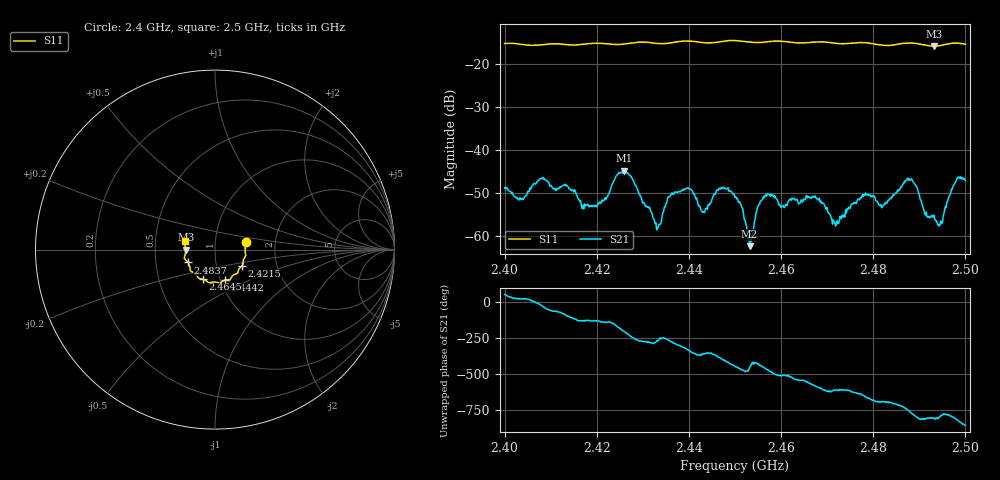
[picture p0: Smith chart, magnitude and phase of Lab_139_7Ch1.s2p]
# Hz S RI R 50
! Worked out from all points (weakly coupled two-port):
!   601 points, 2.4 GHz to 2.5 GHz, reference 50 ohm
!   highest |S21| = -44.84 dB at 2.426 GHz (marker M1); lowest = -62.5 dB at 2.4532 GHz (marker M2)
!   lowest |S11| = -15.7 dB at 2.4932 GHz (marker M3), VSWR 1.39, Z = 36 - j0.0598 ohm
!   |S11| at or under -10 dB: start of sweep to end of sweep
!   S12 and S22 are empty: the file has one direction only
!   S11 on the Smith chart (normalised r, x): 2.4 GHz: 1.41, +0.12; 2.4215 GHz: 1.33, -0.25; 2.4442 GHz: 1.05, -0.37; 2.4645 GHz: 0.83, -0.29; 2.4837 GHz: 0.73, -0.11; 2.5 GHz: 0.71, +0.07
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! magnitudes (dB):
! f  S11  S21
! 2.4 GHz  -15.1  -48.8
! 2.4035 GHz  -15.3  -51.5
! 2.4083 GHz  -15.4  -46.4
! 2.4167 GHz  -15.3  -53.0
! 2.4215 GHz  -15.1  -51.9
! 2.426 GHz  -15.2  -44.8
! 2.4333 GHz  -15.1  -58.2
! 2.4367 GHz  -14.8  -50.1
! 2.4442 GHz  -15.0  -52.8
! 2.45 GHz  -14.4  -51.1
! 2.4532 GHz  -14.8  -62.5
! 2.4567 GHz  -14.7  -50.4
! 2.4645 GHz  -15.0  -51.9
! 2.4667 GHz  -14.8  -51.0
! 2.472 GHz  -15.1  -57.4
! 2.478 GHz  -14.9  -50.4
! 2.4833 GHz  -15.6  -51.8
! 2.4837 GHz  -15.5  -51.3
! 2.488 GHz  -15.0  -47.1
! 2.4932 GHz  -15.7  -55.2
! 2.4945 GHz  -15.6  -57.4
! 2.5 GHz  -15.3  -47.2
